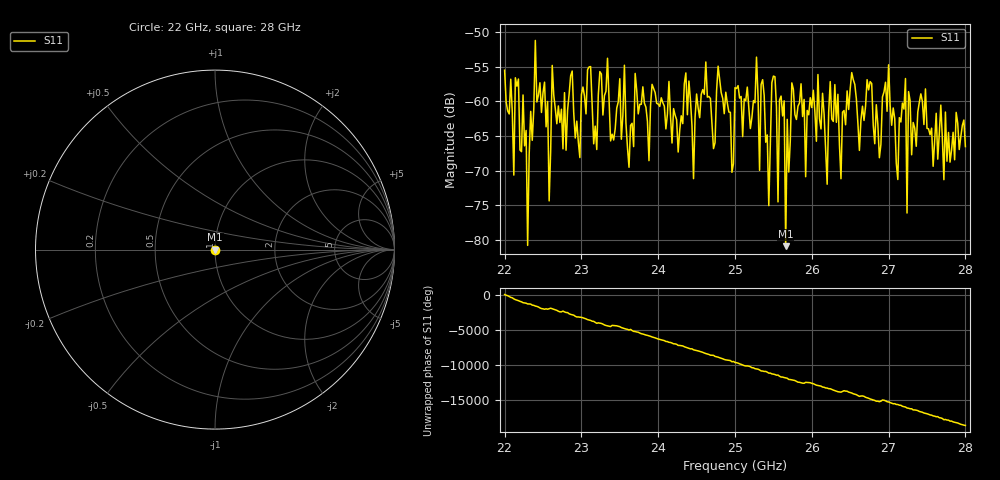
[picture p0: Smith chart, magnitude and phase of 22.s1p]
#  HZ  S  RI  R  50.00
! Rohde & Schwarz ZVA40 4Ports - Version 3.90 - 1145.1110k42 SN: 100403
! Date: 2023-10-04 11:37:44
! Measurement: S12
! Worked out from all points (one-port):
!   301 points, 22 GHz to 28 GHz, reference 50 ohm
!   lowest |S11| = -80.9 dB at 25.66 GHz (marker M1), VSWR 1.00, Z = 50 + j0.00828 ohm
!   |S11| at or under -10 dB: start of sweep to end of sweep
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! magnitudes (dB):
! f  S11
! 22 GHz  -55.5
! 22.12 GHz  -70.6
! 22.24 GHz  -59.1
! 22.3 GHz  -80.8
! 22.4 GHz  -51.2
! 22.58 GHz  -74.4
! 22.62 GHz  -54.8
! 22.76 GHz  -66.8
! 23.5 GHz  -56.7
! 24.26 GHz  -67.3
! 25 GHz  -58.0
! 25.28 GHz  -53.6
! 25.44 GHz  -75.0
! 25.48 GHz  -57.3
! 25.56 GHz  -74.5
! 25.64 GHz  -59.9
! 25.66 GHz  -80.9
! 25.68 GHz  -62.6
! 25.76 GHz  -58.2
! 26.2 GHz  -71.9
! 26.24 GHz  -57.1
! 26.5 GHz  -58.2
! 27 GHz  -54.7
! 27.12 GHz  -71.3
! 27.22 GHz  -56.7
! 27.24 GHz  -76.1
! 27.26 GHz  -58.6
! 28 GHz  -66.5
